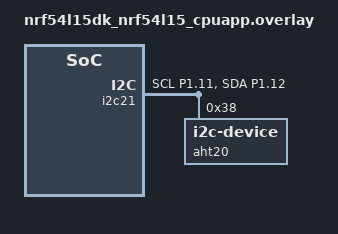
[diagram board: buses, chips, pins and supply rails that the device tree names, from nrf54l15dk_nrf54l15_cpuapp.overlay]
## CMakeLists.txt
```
cmake_minimum_required(VERSION 3.20.0)

find_package(Zephyr REQUIRED HINTS $ENV{ZEPHYR_BASE})
project(aht2415c_nrf54l15)

target_sources(app PRIVATE src/main.c)
```

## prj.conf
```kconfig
# I2C bus driver for talking to the AHT2415C00 sensor
CONFIG_I2C=y

# Logging (used for printing temperature/humidity + debug info)
CONFIG_LOG=y
CONFIG_LOG_MODE_IMMEDIATE=y

# Make sure printk output is enabled too
CONFIG_PRINTK=y

# Slightly larger main stack since we do float math for the conversion
CONFIG_MAIN_STACK_SIZE=2048
```

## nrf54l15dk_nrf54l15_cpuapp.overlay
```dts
/*
 * Devicetree overlay for nrf54l15dk/nrf54l15/cpuapp
 *
 * Wires the AHT2415C00 (AHT20-family) temperature/humidity probe to the
 * I2C21 peripheral on the nRF54L15 DK.
 *
 * Wiring used by this overlay:
 *   AHT2415C00 VDD -> DK 3V3
 *   AHT2415C00 GND -> DK GND
 *   AHT2415C00 SCL -> DK P1.11
 *   AHT2415C00 SDA -> DK P1.12
 *
 * If you wired the probe to different pins, only the two NRF_PSEL() lines
 * in the pinctrl block below need to change - nothing else.
 */

&pinctrl {
	/omit-if-no-ref/ i2c21_default: i2c21_default {
		group1 {
			psels = <NRF_PSEL(TWIM_SCL, 1, 11)>,
				 <NRF_PSEL(TWIM_SDA, 1, 12)>;
		};
	};

	/omit-if-no-ref/ i2c21_sleep: i2c21_sleep {
		group1 {
			psels = <NRF_PSEL(TWIM_SCL, 1, 11)>,
				 <NRF_PSEL(TWIM_SDA, 1, 12)>;
			low-power-enable;
		};
	};
};

&i2c21 {
	status = "okay";
	pinctrl-0 = <&i2c21_default>;
	pinctrl-1 = <&i2c21_sleep>;
	pinctrl-names = "default", "sleep";

	aht20: aht20@38 {
		compatible = "i2c-device";
		reg = <0x38>;
		status = "okay";
	};
};
```

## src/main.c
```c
/*
 * AHT2415C00 (AHT20-family) temperature & humidity probe driver
 * for nRF54L15 / nRF Connect SDK (Zephyr).
 *
 * The AHT2415C00 doesn't have a built-in Zephyr sensor driver, so this
 * file talks to it directly over I2C using the documented command set:
 *
 *   I2C address            : 0x38
 *   Status read command    : 0x71
 *   Init command            : 0xBE 0x08 0x00
 *   Trigger measurement cmd : 0xAC 0x33 0x00
 *   Result                 : 6 bytes -> [status, hum_H, hum_M, hum/temp_X, temp_M, temp_L]
 */

#include <zephyr/kernel.h>
#include <zephyr/device.h>
#include <zephyr/devicetree.h>
#include <zephyr/drivers/i2c.h>
#include <zephyr/logging/log.h>

LOG_MODULE_REGISTER(aht2415c, LOG_LEVEL_INF);

/* Grab the I2C device + address straight from the devicetree node
 * declared in boards/nrf54l15dk_nrf54l15_cpuapp.overlay
 */
static const struct i2c_dt_spec aht20 = I2C_DT_SPEC_GET(DT_NODELABEL(aht20));

#define AHT20_CMD_STATUS   0x71
#define AHT20_CMD_INIT0    0xBE
#define AHT20_CMD_INIT1    0x08
#define AHT20_CMD_INIT2    0x00
#define AHT20_CMD_TRIGGER0 0xAC
#define AHT20_CMD_TRIGGER1 0x33
#define AHT20_CMD_TRIGGER2 0x00

#define AHT20_STATUS_BUSY_BIT 0x80
#define AHT20_STATUS_CAL_BIT  0x08

static int aht20_read_status(uint8_t *status)
{
	uint8_t cmd = AHT20_CMD_STATUS;

	return i2c_write_read_dt(&aht20, &cmd, 1, status, 1);
}

static int aht20_init(void)
{
	int ret;
	uint8_t status;

	/* Datasheet: wait >=100ms after power-on before talking to the sensor */
	k_msleep(100);

	ret = aht20_read_status(&status);
	if (ret < 0) {
		LOG_ERR("Failed to read status register (err %d)", ret);
		return ret;
	}

	if ((status & AHT20_STATUS_CAL_BIT) == 0) {
		uint8_t init_cmd[3] = {
			AHT20_CMD_INIT0,
			AHT20_CMD_INIT1,
			AHT20_CMD_INIT2,
		};

		LOG_INF("Sensor not calibrated yet, sending init command");

		ret = i2c_write_dt(&aht20, init_cmd, sizeof(init_cmd));
		if (ret < 0) {
			LOG_ERR("Failed to send init command (err %d)", ret);
			return ret;
		}

		k_msleep(10);
	}

	return 0;
}

/* Triggers a measurement and converts the raw bytes into °C / %RH. */
static int aht20_read(float *temperature_c, float *humidity_pct)
{
	int ret;
	uint8_t trigger_cmd[3] = {
		AHT20_CMD_TRIGGER0,
		AHT20_CMD_TRIGGER1,
		AHT20_CMD_TRIGGER2,
	};
	uint8_t data[6];

	ret = i2c_write_dt(&aht20, trigger_cmd, sizeof(trigger_cmd));
	if (ret < 0) {
		LOG_ERR("Failed to trigger measurement (err %d)", ret);
		return ret;
	}

	/* Datasheet says wait 80ms, then poll the busy bit just to be safe */
	k_msleep(80);

	for (int tries = 0; tries < 5; tries++) {
		ret = i2c_read_dt(&aht20, data, sizeof(data));
		if (ret < 0) {
			LOG_ERR("Failed to read measurement (err %d)", ret);
			return ret;
		}

		if ((data[0] & AHT20_STATUS_BUSY_BIT) == 0) {
			break; /* measurement ready */
		}

		k_msleep(20);
	}

	if (data[0] & AHT20_STATUS_BUSY_BIT) {
		LOG_WRN("Sensor still busy after retries, data may be stale");
	}

	uint32_t raw_humidity = ((uint32_t)data[1] << 12) |
				 ((uint32_t)data[2] << 4) |
				 (data[3] >> 4);

	uint32_t raw_temperature = (((uint32_t)data[3] & 0x0F) << 16) |
				    ((uint32_t)data[4] << 8) |
				    data[5];

	*humidity_pct = ((float)raw_humidity / 1048576.0f) * 100.0f;
	*temperature_c = (((float)raw_temperature / 1048576.0f) * 200.0f) - 50.0f;

	return 0;
}

int main(void)
{
	int ret;

	LOG_INF("AHT2415C00 + nRF54L15 demo starting");

	if (!device_is_ready(aht20.bus)) {
		LOG_ERR("I2C bus %s is not ready", aht20.bus->name);
		return 0;
	}

	ret = aht20_init();
	if (ret < 0) {
		LOG_ERR("Sensor init failed (err %d), halting", ret);
		return 0;
	}

	LOG_INF("Sensor ready, reading every 2 seconds");

	while (1) {
		float temperature_c = 0.0f;
		float humidity_pct = 0.0f;

		ret = aht20_read(&temperature_c, &humidity_pct);
		if (ret == 0) {
			/* printk does not support %f on every config, so split
			 * the float into integer + 2 decimal places manually.
			 */
			int temp_i = (int)temperature_c;
			int temp_f = (int)((temperature_c - temp_i) * 100);
			int hum_i = (int)humidity_pct;
			int hum_f = (int)((humidity_pct - hum_i) * 100);

			if (temp_f < 0) temp_f = -temp_f;
			if (hum_f < 0) hum_f = -hum_f;

			LOG_INF("Temperature: %d.%02d C  |  Humidity: %d.%02d %%RH",
				 temp_i, temp_f, hum_i, hum_f);
		} else {
			LOG_ERR("Sensor read failed (err %d)", ret);
		}

		k_sleep(K_SECONDS(2));
	}

	return 0;
}
```
